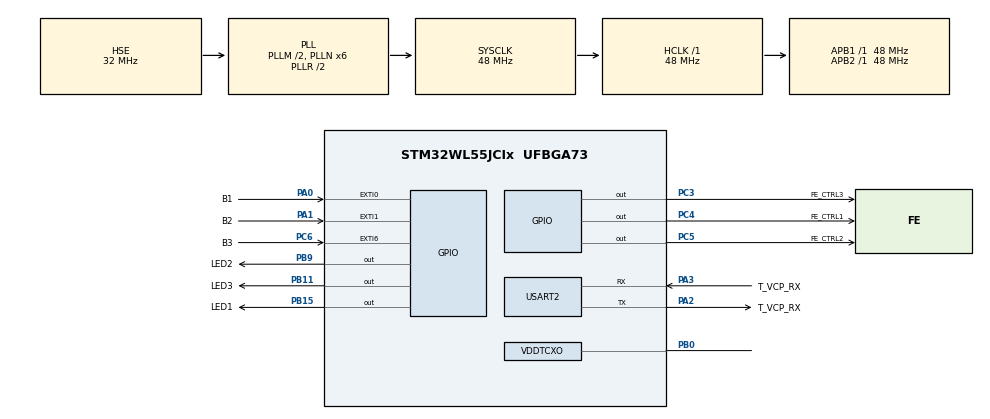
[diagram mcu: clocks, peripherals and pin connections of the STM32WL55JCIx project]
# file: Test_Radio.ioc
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Mcu.Family=STM32WL
Mcu.Name=STM32WL55JCIx
Mcu.Package=UFBGA73
NVIC.PriorityGroup=NVIC_PRIORITYGROUP_4
NVIC.SUBGHZ_Radio_IRQn=true\:0\:0\:false\:false\:true\:true\:true\:true
NVIC.TIM1_UP_IRQn=true\:0\:0\:false\:false\:true\:true\:true\:true
OSC_IN.Mode=HSE-TCXO
OSC_IN.Signal=RCC_OSC_IN
PA0.GPIO_Label=B1
PA0.GPIO_ModeDefaultEXTI=GPIO_MODE_IT_FALLING
PA0.GPIO_PuPd=GPIO_PULLUP
PA0.Signal=GPXTI0
PA1.GPIO_Label=B2
PA1.GPIO_ModeDefaultEXTI=GPIO_MODE_IT_FALLING
PA1.GPIO_PuPd=GPIO_PULLUP
PA1.Signal=GPXTI1
PA13.Mode=Serial_Wire
PA13.Signal=DEBUG_JTMS-SWDIO
PA14.Mode=Serial_Wire
PA14.Signal=DEBUG_JTCK-SWCLK
PA2.GPIO_Label=T_VCP_RX
PA2.Mode=Asynchronous
PA2.Signal=USART2_TX
PA3.GPIO_Label=T_VCP_RX
PA3.Mode=Asynchronous
PA3.Signal=USART2_RX
PB0-VDD_TCXO.Mode=HSE-TCXO
PB0-VDD_TCXO.Signal=VDDTCXO
PB11.GPIO_Label=LED3
PB11.GPIO_Speed=GPIO_SPEED_FREQ_HIGH
PB11.Signal=GPIO_Output
PB15.GPIO_Label=LED1
PB15.GPIO_Speed=GPIO_SPEED_FREQ_HIGH
PB15.Signal=GPIO_Output
PB9.GPIO_FM9=__NULL
PB9.GPIO_Label=LED2
PB9.GPIO_Speed=GPIO_SPEED_FREQ_HIGH
PB9.Signal=GPIO_Output
PC14-OSC32_IN.Signal=RCC_OSC32_IN
PC15-OSC32_OUT.Signal=RCC_OSC32_OUT
PC3.GPIO_Label=FE_CTRL3
PC3.GPIO_Speed=GPIO_SPEED_FREQ_VERY_HIGH
PC3.Signal=GPIO_Output
PC4.GPIO_Label=FE_CTRL1
PC4.GPIO_Speed=GPIO_SPEED_FREQ_VERY_HIGH
PC4.Signal=GPIO_Output
PC5.GPIO_Label=FE_CTRL2
PC5.GPIO_Speed=GPIO_SPEED_FREQ_VERY_HIGH
PC5.Signal=GPIO_Output
PC6.GPIO_Label=B3
PC6.GPIO_ModeDefaultEXTI=GPIO_MODE_IT_FALLING
PC6.GPIO_PuPd=GPIO_PULLUP
PC6.Signal=GPXTI6
ProjectManager.HeapSize=0x200
ProjectManager.StackSize=0x400
ProjectManager.TargetToolchain=STM32CubeIDE
RCC.AHBFreq_Value=48000000
RCC.APB1Freq_Value=48000000
RCC.APB1TimFreq_Value=48000000
RCC.APB2Freq_Value=48000000
RCC.APB2TimFreq_Value=48000000
RCC.APB3Freq_Value=48000000
RCC.CortexFreq_Value=48000000
RCC.HCLKFreq_Value=48000000
RCC.HSE_VALUE=32000000
RCC.HSI_VALUE=16000000
RCC.LSE_VALUE=32768
RCC.PLLM=RCC_PLLM_DIV2
RCC.PLLN=6
RCC.PLLSourceVirtual=RCC_PLLSOURCE_HSE
RCC.SYSCLKFreq_VALUE=48000000
RCC.SYSCLKSource=RCC_SYSCLKSOURCE_PLLCLK
RCC.VCOOutputFreq_Value=96000000
TIM1.Period=1000-1
TIM1.Prescaler=48-1
TIM2.Period=1000001-1
TIM2.Prescaler=48-1
USART2.VirtualMode-Asynchronous=VM_ASYNC
VP_ADV_TRACE_VS_ADV_TRACE.Mode=ADV_TRACE_Enabled
VP_MISC_VS_MISC.Mode=MISC_Enabled
VP_SEQUENCER_M4_VS_SEQUENCER.Mode=SEQUENCER_Enabled
VP_SUBGHZ_PHY_VS_SubGhzPhy.Mode=SubGhzPhy_Enabled
VP_SUBGHZ_VS_SUBGHZ.Mode=SUBGHZ_Activate
VP_TIM1_VS_ClockSourceINT.Mode=Internal
VP_TIM2_VS_ClockSourceINT.Mode=Internal
VP_TIMER_VS_TIMER.Mode=TIMER_Enabled
VP_TINY_LPM_VS_TINY_LPM.Mode=TINY_LPM_Enabled
board=NUCLEO-WL55JC2

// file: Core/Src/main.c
/* USER CODE BEGIN Header */
/**
 ******************************************************************************
 * @file           : main.c
 * @brief          : Main program body
 ******************************************************************************
 * @attention
 *
 * Copyright (c) 2024 STMicroelectronics.
 * All rights reserved.
 *
 * This software is licensed under terms that can be found in the LICENSE file
 * in the root directory of this software component.
 * If no LICENSE file comes with this software, it is provided AS-IS.
 *
 ******************************************************************************
 */
/* USER CODE END Header */
#include "main.h"
#include "app_subghz_phy.h"

/* USER CODE BEGIN Includes */
#include "radio_driver.h"
#include "stdio.h"
#include "stdarg.h"
/* USER CODE END Includes */

/* USER CODE BEGIN PTD */
#define PAYLOAD_LENGTH (16)

#define FREQ_401_MHZ            (401375000) //DLink
#define FREQ_402_MHZ			(402375000)	//UPLINK

#define PA_DUTY_CYCLE           (0x04)
#define HP_MAX                  (0x07)
#define PA_SEL                  (0x00)

//#define POWER                   (0x16)
//#define RAMP_TIME               (0x02)

#define POWER                   (0x0E)      // Reduce power for lower consumption
#define RAMP_TIME               (0x03)      // Adjust ramp time for lower power
/* USER CODE END PTD */

/* USER CODE BEGIN PD */
PacketParams_t pkt_params;
ModulationParams_t mod_params;
/* USER CODE END PD */

SUBGHZ_HandleTypeDef hsubghz;

TIM_HandleTypeDef htim1;
TIM_HandleTypeDef htim2;

UART_HandleTypeDef huart2;

/* USER CODE BEGIN PV */
uint8_t rx_cmd[PAYLOAD_LENGTH];
uint8_t tx_cmd[PAYLOAD_LENGTH];
uint8_t p_len = PAYLOAD_LENGTH;
uint8_t ack = 0;
uint8_t rssi_value = 0;
uint8_t pkt_id = 0;
uint8_t DATA_SIZE = 14;
uint16_t crc = 0;
uint8_t TX_FLAG = 0;
uint16_t mSEC = 0;
uint8_t sec = 0;
uint8_t min = 0;
uint8_t hour = 0;
/* USER CODE END PV */

void SystemClock_Config(void);
static void MX_GPIO_Init(void);
static void MX_USART2_UART_Init(void);
static void MX_TIM2_Init(void);
static void MX_TIM1_Init(void);
/* USER CODE BEGIN PFP */
void delay_us(uint32_t us);
int bufferSize(char *buffer);
void myPrintf(const char *fmt, ...);
uint16_t calc_CRC(const uint8_t *data, uint8_t data_length);
void radioTxData();
void DioIrqHndlr(RadioIrqMasks_t radioIrq);
/* USER CODE END PFP */

/* USER CODE BEGIN 0 */
void HAL_TIM_PeriodElapsedCallback(TIM_HandleTypeDef *htim) {
	if (htim == &htim1) {
		mSEC++;

		if (mSEC > 999) {
			mSEC = 0;
			sec++;
		}

		if (sec > 0) {
			if (sec % 5 == 0) {
				TX_FLAG = 1;
			}
		}

		if (sec > 59) {
			sec = 0;
			min++;
		}

		if (min > 59) {
			min = 0;
			hour++;
		}

		if (hour > 23) {
			hour = 0;
			min = 0;
			sec = 0;
		}
	}
}

void delay_us(uint32_t us) {
	uint32_t delay_counter_disp;
	__HAL_TIM_SET_COUNTER(&htim2, 0);  // set the counter value a 0
	while (__HAL_TIM_GET_COUNTER(&htim2) < us)
		delay_counter_disp++;
	// wait for the counter to reach the us input in the parameter
}

void myPrintf(const char *fmt, ...) {
	static char temp[100];
	va_list args;
	va_start(args, fmt);
	vsnprintf(temp, sizeof(temp), fmt, args);
	va_end(args);
	int len = bufferSize(temp);
	HAL_UART_Transmit(&huart2, (uint8_t*) temp, len, 1000);
}

int bufferSize(char *buffer) {
	int i = 0;
	while (*buffer++ != '\0')
		i++;
	return i;
}

uint16_t calc_CRC(const uint8_t *data, uint8_t data_length) {

	uint16_t crcReg = 0xFFFF;	// Initialize the CRC register with 0xFFFF
	uint16_t calc = 0x8408;		// Polynomial for CRC-16
	uint16_t w;
	int i, j;
	uint8_t calc_data[DATA_SIZE];  // in 16 bytes, 14 are data bytes

	// Copy data into calc_data
	for (i = 0; i < data_length; i++) {
		calc_data[i] = data[i];
		// Iterate over each byte of data
		for (j = 0; j < 8; j++) {
			w = (crcReg ^ calc_data[i]) & 0x0001; // XOR the LSB of crcReg with the LSB of calc_data
			crcReg = crcReg >> 1;			// Right-shift the crcReg by 1 bit
			if (w == 1) {
				crcReg = crcReg ^ calc;	// If w is 1, XOR the crcReg with the polynomial
			}
			calc_data[i] = calc_data[i] >> 1;// Right-shift the data byte by 1 bit
		}
	}
	crcReg = crcReg ^ 0xFFFF;						// Final XOR with 0xFFFF
	return crcReg;
}

void radioTxData() {
	tx_cmd[0] = 0x42;
	tx_cmd[1] = 0x4D;

	//getSoilSensorData();
	tx_cmd[2] = 0x01; 		       //gst data (GST ID)
	//tx_cmd[3] = read_soil_value >> 8 & 0xff; 	  //gst DATA (SOIL SENSOR - MSB)
	//tx_cmd[4] = read_soil_value & 0xff;     //gst data (SOIL SENSOR LSB)

	tx_cmd[3] = 0x1A; 	  //gst DATA (SOIL SENSOR - MSB)
	tx_cmd[4] = 0x23;     //gst data (SOIL SENSOR LSB)

	tx_cmd[5] = 0x33;    //gst data
	tx_cmd[6] = 0x44;
	tx_cmd[7] = 0x55;
	tx_cmd[8] = 0x66;
	tx_cmd[9] = 0x77;
	tx_cmd[10] = 0x88;
	tx_cmd[11] = 0x99;
	tx_cmd[12] = 0x38;
	tx_cmd[13] = 0xA7;
	crc = 0;
	crc = calc_CRC(tx_cmd, DATA_SIZE);
	tx_cmd[14] = crc >> 8;
	tx_cmd[15] = crc;
}

/* USER CODE END 0 */

int main(void) {

	/* MCU Configuration--------------------------------------------------------*/

	/* Reset of all peripherals, Initializes the Flash interface and the Systick. */
	HAL_Init();

	/* Configure the system clock */
	SystemClock_Config();

	/* Initialize all configured peripherals */
	MX_GPIO_Init();
	MX_USART2_UART_Init();
	MX_SubGHz_Phy_Init();
	MX_TIM2_Init();
	MX_TIM1_Init();
	/* USER CODE BEGIN 2 */

	HAL_TIM_Base_Start(&htim2);

	pkt_params.PacketType = PACKET_TYPE_LORA;
	pkt_params.Params.LoRa.PayloadLength = PAYLOAD_LENGTH;
	pkt_params.Params.LoRa.PreambleLength = 8;
	pkt_params.Params.LoRa.HeaderType = LORA_PACKET_IMPLICIT;
	pkt_params.Params.LoRa.CrcMode = LORA_CRC_ON;
	pkt_params.Params.LoRa.InvertIQ = LORA_IQ_NORMAL;

	mod_params.PacketType = PACKET_TYPE_LORA;
	mod_params.Params.LoRa.Bandwidth = LORA_BW_031;
	mod_params.Params.LoRa.SpreadingFactor = LORA_SF10;
	mod_params.Params.LoRa.CodingRate = LORA_CR_4_8;
	//mod_params.Params.LoRa.LowDatarateOptimize = 0;
	mod_params.Params.LoRa.LowDatarateOptimize = 1; // Enable low data rate optimization

	SUBGRF_Init(DioIrqHndlr);
	SUBGRF_SetBufferBaseAddress(0x00, 0x00);
	SUBGRF_SetPayload(tx_cmd, PAYLOAD_LENGTH);
	SUBGRF_SetPacketParams(&pkt_params);
	SUBGRF_SetSyncWord(( uint8_t[] ) { 0xC1, 0x94, 0xC1, 0x00, 0x00, 0x00, 0x00,
					0x00 });
	SUBGRF_SetWhiteningSeed(0x01FF);
	SUBGRF_SetRfFrequency(FREQ_402_MHZ);
	SUBGRF_SetPaConfig(PA_DUTY_CYCLE, HP_MAX, PA_SEL, 0x01);
	//SUBGRF_SetTxParams(RFO_HP, POWER, RAMP_TIME);
	SUBGRF_SetTxParams(RFO_LP, POWER, RAMP_TIME);
	SUBGRF_SetModulationParams(&mod_params);
	SUBGRF_SetDioIrqParams(
			IRQ_TX_DONE | IRQ_PREAMBLE_DETECTED | IRQ_RX_DONE
					| IRQ_RX_TX_TIMEOUT | IRQ_SYNCWORD_VALID,
			IRQ_TX_DONE | IRQ_PREAMBLE_DETECTED | IRQ_RX_DONE
					| IRQ_RX_TX_TIMEOUT | IRQ_SYNCWORD_VALID, IRQ_RADIO_NONE,
			IRQ_RADIO_NONE);

	myPrintf("\n########## Test code: BEGIN ##########\r\n");
	myPrintf("\n########## Receive and Transmits ##########\r\n");
	myPrintf("########## Low Power Radio Receiver: 	##########\r\n");
	myPrintf("########## COMMUNICATION PARAMETERS: 		##########\r\n");
	myPrintf("Modulation: LoRa PACKET\r\n");
	myPrintf("FREQUENCY MODS: UPLINK FREQ: %lu\r\n    DOWNLINK FREQ: %lu\r\n",
	FREQ_402_MHZ, FREQ_401_MHZ);
	myPrintf(
			"POWER CONFIG:\r\n    PA_DUTY_CYCLE : %x,    HP_MAX: %x,\n\r    PA_SEL : %x,    POWER TX: %u dBm\n\r",
			PA_DUTY_CYCLE, HP_MAX, PA_SEL, POWER);
	myPrintf("RECEVING BANDWIDTH: 	%d\n\r", mod_params.Params.LoRa.Bandwidth);
	myPrintf("Packet Type: 			%d\n\r", pkt_params.PacketType);
	myPrintf("PayloadLength: 		%d\n\r", pkt_params.Params.LoRa.PayloadLength);
	myPrintf("PreambleLength: 		%d\n\r", pkt_params.Params.LoRa.PreambleLength);
	myPrintf("HeaderType: 			%d\n\r", pkt_params.Params.LoRa.HeaderType);
	myPrintf(
			"--------   If this message pop up then wait to receive   --------\r\n");
	myPrintf("__________________________________________________\r\n");
	SUBGRF_SetRfFrequency(FREQ_402_MHZ);
	SUBGRF_SetSwitch(RFO_LP, RFSWITCH_RX); /*Set RF switch*/
	SUBGRF_SetRxBoosted(0xFFFFFF);

	HAL_GPIO_WritePin(GPIOB, LED1_Pin, GPIO_PIN_SET);
	delay_us(1000000);  // 500ms delay
	HAL_GPIO_WritePin(GPIOB, LED1_Pin, GPIO_PIN_RESET);
	delay_us(1000000);
	/* USER CODE END 2 */

	/* Infinite loop */
	/* USER CODE BEGIN WHILE */
	while (1) {
		HAL_GPIO_WritePin(GPIOB, LED1_Pin, GPIO_PIN_RESET);
		delay_us(1000000);
		HAL_GPIO_WritePin(GPIOB, LED1_Pin, GPIO_PIN_SET);
		delay_us(1000000);

		if (TX_FLAG) {
			radioTxData();
			SUBGRF_SetRfFrequency(FREQ_401_MHZ);
			SUBGRF_SetSwitch(RFO_LP, RFSWITCH_TX); /*Set RF switch*/
			SUBGRF_SendPayload(tx_cmd, 16, 0);
		}

		/* USER CODE END WHILE */
		MX_SubGHz_Phy_Process();

	}
}

void SystemClock_Config(void) {
	RCC_OscInitTypeDef RCC_OscInitStruct = { 0 };
	RCC_ClkInitTypeDef RCC_ClkInitStruct = { 0 };

	/** Configure the main internal regulator output voltage
	 */
	__HAL_PWR_VOLTAGESCALING_CONFIG(PWR_REGULATOR_VOLTAGE_SCALE1);

	/** Initializes the CPU, AHB and APB buses clocks
	 */
	RCC_OscInitStruct.OscillatorType = RCC_OSCILLATORTYPE_HSE;
	RCC_OscInitStruct.HSEState = RCC_HSE_BYPASS_PWR;
	RCC_OscInitStruct.HSEDiv = RCC_HSE_DIV1;
	RCC_OscInitStruct.PLL.PLLState = RCC_PLL_ON;
	RCC_OscInitStruct.PLL.PLLSource = RCC_PLLSOURCE_HSE;
	RCC_OscInitStruct.PLL.PLLM = RCC_PLLM_DIV2;
	RCC_OscInitStruct.PLL.PLLN = 6;
	RCC_OscInitStruct.PLL.PLLP = RCC_PLLP_DIV2;
	RCC_OscInitStruct.PLL.PLLR = RCC_PLLR_DIV2;
	RCC_OscInitStruct.PLL.PLLQ = RCC_PLLQ_DIV2;
	if (HAL_RCC_OscConfig(&RCC_OscInitStruct) != HAL_OK) {
		Error_Handler();
	}

	/** Configure the SYSCLKSource, HCLK, PCLK1 and PCLK2 clocks dividers
	 */
	RCC_ClkInitStruct.ClockType = RCC_CLOCKTYPE_HCLK3 | RCC_CLOCKTYPE_HCLK
			| RCC_CLOCKTYPE_SYSCLK | RCC_CLOCKTYPE_PCLK1 | RCC_CLOCKTYPE_PCLK2;
	RCC_ClkInitStruct.SYSCLKSource = RCC_SYSCLKSOURCE_PLLCLK;
	RCC_ClkInitStruct.AHBCLKDivider = RCC_SYSCLK_DIV1;
	RCC_ClkInitStruct.APB1CLKDivider = RCC_HCLK_DIV1;
	RCC_ClkInitStruct.APB2CLKDivider = RCC_HCLK_DIV1;
	RCC_ClkInitStruct.AHBCLK3Divider = RCC_SYSCLK_DIV1;

	if (HAL_RCC_ClockConfig(&RCC_ClkInitStruct, FLASH_LATENCY_2) != HAL_OK) {
		Error_Handler();
	}
}

void MX_SUBGHZ_Init(void) {

	hsubghz.Init.BaudratePrescaler = SUBGHZSPI_BAUDRATEPRESCALER_8;
	if (HAL_SUBGHZ_Init(&hsubghz) != HAL_OK) {
		Error_Handler();
	}

}

static void MX_TIM1_Init(void) {

	TIM_ClockConfigTypeDef sClockSourceConfig = { 0 };
	TIM_MasterConfigTypeDef sMasterConfig = { 0 };

	htim1.Instance = TIM1;
	htim1.Init.Prescaler = 48 - 1;
	htim1.Init.CounterMode = TIM_COUNTERMODE_UP;
	htim1.Init.Period = 1000 - 1;
	htim1.Init.ClockDivision = TIM_CLOCKDIVISION_DIV1;
	htim1.Init.RepetitionCounter = 0;
	htim1.Init.AutoReloadPreload = TIM_AUTORELOAD_PRELOAD_DISABLE;
	if (HAL_TIM_Base_Init(&htim1) != HAL_OK) {
		Error_Handler();
	}
	sClockSourceConfig.ClockSource = TIM_CLOCKSOURCE_INTERNAL;
	if (HAL_TIM_ConfigClockSource(&htim1, &sClockSourceConfig) != HAL_OK) {
		Error_Handler();
	}
	sMasterConfig.MasterOutputTrigger = TIM_TRGO_RESET;
	sMasterConfig.MasterOutputTrigger2 = TIM_TRGO2_RESET;
	sMasterConfig.MasterSlaveMode = TIM_MASTERSLAVEMODE_DISABLE;
	if (HAL_TIMEx_MasterConfigSynchronization(&htim1, &sMasterConfig)
			!= HAL_OK) {
		Error_Handler();
	}

}

static void MX_TIM2_Init(void) {

	TIM_ClockConfigTypeDef sClockSourceConfig = { 0 };
	TIM_MasterConfigTypeDef sMasterConfig = { 0 };

	htim2.Instance = TIM2;
	htim2.Init.Prescaler = 48 - 1;
	htim2.Init.CounterMode = TIM_COUNTERMODE_UP;
	htim2.Init.Period = 1000001 - 1;
	htim2.Init.ClockDivision = TIM_CLOCKDIVISION_DIV1;
	htim2.Init.AutoReloadPreload = TIM_AUTORELOAD_PRELOAD_DISABLE;
	if (HAL_TIM_Base_Init(&htim2) != HAL_OK) {
		Error_Handler();
	}
	sClockSourceConfig.ClockSource = TIM_CLOCKSOURCE_INTERNAL;
	if (HAL_TIM_ConfigClockSource(&htim2, &sClockSourceConfig) != HAL_OK) {
		Error_Handler();
	}
	sMasterConfig.MasterOutputTrigger = TIM_TRGO_RESET;
	sMasterConfig.MasterSlaveMode = TIM_MASTERSLAVEMODE_DISABLE;
	if (HAL_TIMEx_MasterConfigSynchronization(&htim2, &sMasterConfig)
			!= HAL_OK) {
		Error_Handler();
	}

}

static void MX_USART2_UART_Init(void) {

	huart2.Instance = USART2;
	huart2.Init.BaudRate = 115200;
	huart2.Init.WordLength = UART_WORDLENGTH_8B;
	huart2.Init.StopBits = UART_STOPBITS_1;
	huart2.Init.Parity = UART_PARITY_NONE;
	huart2.Init.Mode = UART_MODE_TX_RX;
	huart2.Init.HwFlowCtl = UART_HWCONTROL_NONE;
	huart2.Init.OverSampling = UART_OVERSAMPLING_16;
	huart2.Init.OneBitSampling = UART_ONE_BIT_SAMPLE_DISABLE;
	huart2.Init.ClockPrescaler = UART_PRESCALER_DIV1;
	huart2.AdvancedInit.AdvFeatureInit = UART_ADVFEATURE_NO_INIT;
	if (HAL_UART_Init(&huart2) != HAL_OK) {
		Error_Handler();
	}
	if (HAL_UARTEx_SetTxFifoThreshold(&huart2, UART_TXFIFO_THRESHOLD_1_8)
			!= HAL_OK) {
		Error_Handler();
	}
	if (HAL_UARTEx_SetRxFifoThreshold(&huart2, UART_RXFIFO_THRESHOLD_1_8)
			!= HAL_OK) {
		Error_Handler();
	}
	if (HAL_UARTEx_DisableFifoMode(&huart2) != HAL_OK) {
		Error_Handler();
	}

}

static void MX_GPIO_Init(void) {
	GPIO_InitTypeDef GPIO_InitStruct = { 0 };

	/* GPIO Ports Clock Enable */
	__HAL_RCC_GPIOA_CLK_ENABLE();
	__HAL_RCC_GPIOB_CLK_ENABLE();
	__HAL_RCC_GPIOC_CLK_ENABLE();

	/*Configure GPIO pin Output Level */
	HAL_GPIO_WritePin(GPIOB, LED1_Pin | LED2_Pin | LED3_Pin, GPIO_PIN_RESET);

	/*Configure GPIO pin Output Level */
	HAL_GPIO_WritePin(GPIOC, FE_CTRL3_Pin | FE_CTRL2_Pin | FE_CTRL1_Pin,
			GPIO_PIN_RESET);

	/*Configure GPIO pins : LED1_Pin LED2_Pin LED3_Pin */
	GPIO_InitStruct.Pin = LED1_Pin | LED2_Pin | LED3_Pin;
	GPIO_InitStruct.Mode = GPIO_MODE_OUTPUT_PP;
	GPIO_InitStruct.Pull = GPIO_NOPULL;
	GPIO_InitStruct.Speed = GPIO_SPEED_FREQ_HIGH;
	HAL_GPIO_Init(GPIOB, &GPIO_InitStruct);

	/*Configure GPIO pins : FE_CTRL3_Pin FE_CTRL2_Pin FE_CTRL1_Pin */
	GPIO_InitStruct.Pin = FE_CTRL3_Pin | FE_CTRL2_Pin | FE_CTRL1_Pin;
	GPIO_InitStruct.Mode = GPIO_MODE_OUTPUT_PP;
	GPIO_InitStruct.Pull = GPIO_NOPULL;
	GPIO_InitStruct.Speed = GPIO_SPEED_FREQ_VERY_HIGH;
	HAL_GPIO_Init(GPIOC, &GPIO_InitStruct);

	/*Configure GPIO pins : B1_Pin B2_Pin */
	GPIO_InitStruct.Pin = B1_Pin | B2_Pin;
	GPIO_InitStruct.Mode = GPIO_MODE_IT_FALLING;
	GPIO_InitStruct.Pull = GPIO_PULLUP;
	HAL_GPIO_Init(GPIOA, &GPIO_InitStruct);

	/*Configure GPIO pin : B3_Pin */
	GPIO_InitStruct.Pin = B3_Pin;
	GPIO_InitStruct.Mode = GPIO_MODE_IT_FALLING;
	GPIO_InitStruct.Pull = GPIO_PULLUP;
	HAL_GPIO_Init(B3_GPIO_Port, &GPIO_InitStruct);

}

/* USER CODE BEGIN 4 */
void DioIrqHndlr(RadioIrqMasks_t radioIrq) {
	if (radioIrq == IRQ_RX_DONE) {
		pkt_id++;
		SUBGRF_GetPayload(rx_cmd, &p_len, PAYLOAD_LENGTH);
		rssi_value = SUBGRF_GetRssiInst();
		myPrintf("\nLora Received\r\n");
		for (int i = 0; i < sizeof(rx_cmd); i++) {
			myPrintf(" %x", rx_cmd[i]);
		}
		myPrintf("\r\n");

		if (pkt_id > 5) {
			pkt_id = 0;
			HAL_TIM_Base_Start_IT(&htim1);
			myPrintf(
					"\n########## Received Data Successful, now transmitting data ##########\r\n");
			myPrintf("########## Low Power Radio: 	##########\r\n");
			myPrintf("########## COMMUNICATION PARAMETERS: 		##########\r\n");
			myPrintf("Modulation: LoRa PACKET\r\n");
			myPrintf(
					"FREQUENCY MODS: UPLINK FREQ: %lu\r\n    DOWNLINK FREQ: %lu\r\n",
					FREQ_402_MHZ, FREQ_401_MHZ);
			myPrintf(
					"POWER CONFIG:\r\n    PA_DUTY_CYCLE : %x,    HP_MAX: %x,\n\r    PA_SEL : %x,    POWER TX: %u dBm\n\r",
					PA_DUTY_CYCLE, HP_MAX, PA_SEL, POWER);
			myPrintf("RECEVING BANDWIDTH: 	%d\n\r",
					mod_params.Params.LoRa.Bandwidth);
			myPrintf("Packet Type: 			%d\n\r", pkt_params.PacketType);
			myPrintf("PayloadLength: 		%d\n\r",
					pkt_params.Params.LoRa.PayloadLength);
			myPrintf("PreambleLength: 		%d\n\r",
					pkt_params.Params.LoRa.PreambleLength);
			myPrintf("HeaderType: 			%d\n\r",
					pkt_params.Params.LoRa.HeaderType);

			myPrintf(
					"If this message pop up then track in other NucleoWL55JC2 Receiver\r\n");
			myPrintf("------------- Wait for Test Complete --------------\r\n");
			myPrintf("__________________________________________________\r\n");
			myPrintf("The Transmitter will transmits packets now. \r\n");
		}
	} else if (radioIrq == IRQ_TX_DONE) {
		TX_FLAG = 0;
		myPrintf("\n\r Test Command Transmitted Successful:  \r");
		for (int i = 0; i < 16; i++) {
			myPrintf(" %02x", tx_cmd[i]);
		}
		myPrintf("\n\n");
		pkt_id++;
		if (pkt_id > 5) {
			HAL_TIM_Base_Stop(&htim1);
			myPrintf("\n\r Testing,Receive and Transmit done.  \r\n");
			myPrintf("\n########## Receive and Transmits ##########\r\n");
			myPrintf("########## Low Power Radio Receiver: 	##########\r\n");
			myPrintf("########## COMMUNICATION PARAMETERS: 		##########\r\n");
			myPrintf("Modulation: LoRa PACKET\r\n");
			myPrintf(
					"FREQUENCY MODS: UPLINK FREQ: %lu\r\n    DOWNLINK FREQ: %lu\r\n",
					FREQ_402_MHZ, FREQ_401_MHZ);
			myPrintf(
					"POWER CONFIG:\r\n    PA_DUTY_CYCLE : %x,    HP_MAX: %x,\n\r    PA_SEL : %x,    POWER TX: %u dBm\n\r",
					PA_DUTY_CYCLE, HP_MAX, PA_SEL, POWER);
			myPrintf("RECEVING BANDWIDTH: 	%d\n\r",
					mod_params.Params.LoRa.Bandwidth);
			myPrintf("Packet Type: 			%d\n\r", pkt_params.PacketType);
			myPrintf("PayloadLength: 		%d\n\r",
					pkt_params.Params.LoRa.PayloadLength);
			myPrintf("PreambleLength: 		%d\n\r",
					pkt_params.Params.LoRa.PreambleLength);
			myPrintf("HeaderType: 			%d\n\r",
					pkt_params.Params.LoRa.HeaderType);
			myPrintf(
					"--------   If this message pop up then wait to receive   --------\r\n");
			myPrintf("__________________________________________________\r\n");
			SUBGRF_SetRfFrequency(FREQ_402_MHZ);
			SUBGRF_SetSwitch(RFO_LP, RFSWITCH_RX); /*Set RF switch*/
			SUBGRF_SetRxBoosted(0xFFFFFF);

			HAL_GPIO_WritePin(GPIOB, LED1_Pin, GPIO_PIN_SET);
			delay_us(1000000);  // 500ms delay
			HAL_GPIO_WritePin(GPIOB, LED1_Pin, GPIO_PIN_RESET);
			delay_us(1000000);
			pkt_id = 0;
		}
	}
}
/* USER CODE END 4 */

void Error_Handler(void) {
	__disable_irq();
	while (1) {
	}
}
